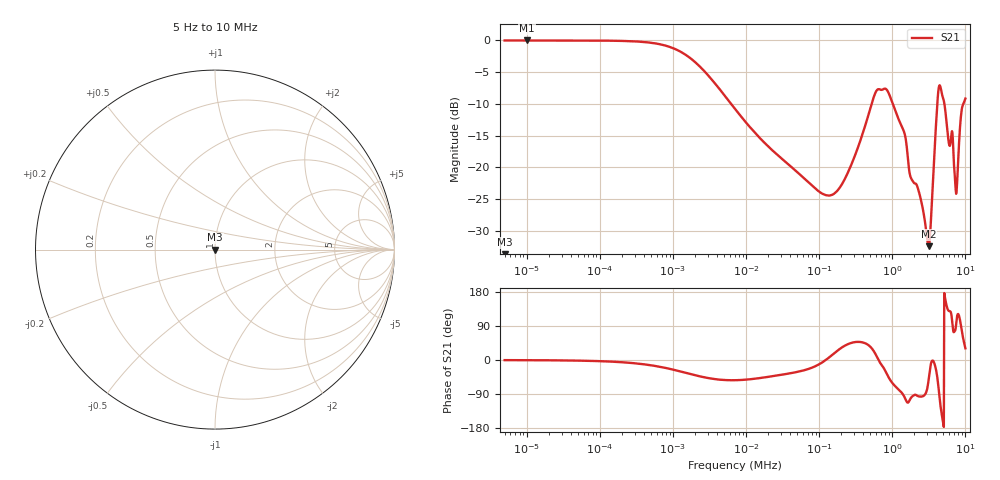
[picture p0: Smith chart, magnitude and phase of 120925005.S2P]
!Agilent Technologies,E5061B,MY49204007,A.02.12
!Date: Fri Sep 12 09:53:02 2025
!Data & Calibration Information:
!Freq	S11:SOLT2(OFF)	S21:SOLT2(OFF)	S12:SOLT2(OFF)	S22:SOLT2(OFF)
# Hz S dB R 50
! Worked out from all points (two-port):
!   1041 points, 5 Hz to 10 MHz, reference 50 ohm
!   highest |S21| = -0.04 dB at 10.12 Hz (marker M1); lowest = -32.4 dB at 3.135 MHz (marker M2)
!   |S21| within 3 dB of the highest: start of sweep to 1.828 kHz
!   lowest |S11| = - dB at 5 Hz (marker M3), VSWR 1.00, Z = 50 + j0 ohm
!   |S11| at or under -10 dB: start of sweep to end of sweep
!   S12 and S22 are empty: the file has one direction only
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5  -200.00 0.0  -0.04 -0.3  -200.00 0.0  -200.00 0.0
10.119  -200.00 0.0  -0.04 -0.5  -200.00 0.0  -200.00 0.0
56.522  -200.00 0.0  -0.05 -1.8  -200.00 0.0  -200.00 0.0
632.897  -200.00 0.0  -0.58 -17.2  -200.00 0.0  -200.00 0.0
1929.818  -200.00 0.0  -3.26 -39.3  -200.00 0.0  -200.00 0.0
7154.49  -200.00 0.0  -10.88 -53.3  -200.00 0.0  -200.00 0.0
80111.67  -200.00 0.0  -22.88 -20.1  -200.00 0.0  -200.00 0.0
186984.1  -200.00 0.0  -23.37 27.8  -200.00 0.0  -200.00 0.0
509689.2  -200.00 0.0  -10.43 33.5  -200.00 0.0  -200.00 0.0
657040.1  -200.00 0.0  -7.71 -2.2  -200.00 0.0  -200.00 0.0
893075.1  -200.00 0.0  -8.33 -46.0  -200.00 0.0  -200.00 0.0
1529928  -200.00 0.0  -15.59 -105.1  -200.00 0.0  -200.00 0.0
1791890  -200.00 0.0  -21.62 -100.5  -200.00 0.0  -200.00 0.0
3135378  -200.00 0.0  -32.42 -53.3  -200.00 0.0  -200.00 0.0
3363256  -200.00 0.0  -28.78 -11.6  -200.00 0.0  -200.00 0.0
3999130  -200.00 0.0  -12.55 -29.1  -200.00 0.0  -200.00 0.0
4378536  -200.00 0.0  -7.19 -89.6  -200.00 0.0  -200.00 0.0
4947644  -200.00 0.0  -9.09 -163.4  -200.00 0.0  -200.00 0.0
5599234  -200.00 0.0  -13.62 139.4  -200.00 0.0  -200.00 0.0
7357139  -200.00 0.0  -23.46 83.2  -200.00 0.0  -200.00 0.0
8438310  -200.00 0.0  -13.74 105.6  -200.00 0.0  -200.00 0.0
1e7  -200.00 0.0  -9.19 30.8  -200.00 0.0  -200.00 0.0
